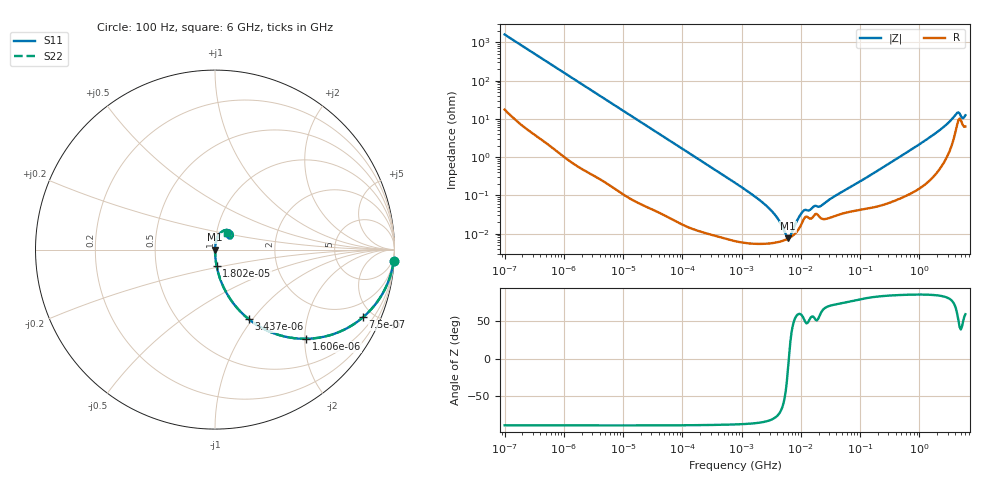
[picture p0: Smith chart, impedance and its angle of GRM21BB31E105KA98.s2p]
!Murata Part Number: GRM21BB31E105KA98
!These Parameters are Measured in Series Mode Connection
!Data Generated on Mar 30, 2021
!  o--ll--o
!Port1  Port2
!  o------o
!Operation Temp=25[degC], DC Bias Voltage=0[V]
!Freq. Start=100[Hz] Stop=6[GHz] 401[Steps]
# Hz S RI R 50
!Freq.(Hz) S11(Real) S11(Imag) S21(Real) S21(Imag) S12(Real) S12(Imag) S22(Real) S22(Imag)
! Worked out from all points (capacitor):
!   401 points, 100 Hz to 6 GHz, reference 50 ohm
!   read as one part in series: C = 982 nF near 109 Hz
!   lowest |Z| = 7.64 mohm at 6.075 MHz (marker M1)
!   series resonance near 6.276 MHz, so ESL is about 660 pH
!   S11 on the Smith chart (normalised r, x): 100 Hz: 1, -32; 750 Hz: 1.03, -4.35; 1.606 kHz: 1.01, -2.04; 3.437 kHz: 1.01, -0.95; 18.02 kHz: 1.00, -0.18; 6 GHz: 1.13, +0.22
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100  0.9955 -0.0614  0.00446 0.0614  0.00446 0.0614  0.9955 -0.0614
350  0.9542 -0.2052  0.0458 0.2052  0.0458 0.2052  0.9542 -0.2052
750  0.824 -0.3775  0.176 0.3775  0.176 0.3775  0.824 -0.3775
1606  0.5093 -0.4969  0.4907 0.4969  0.4907 0.4969  0.5093 -0.4969
2008  0.3998 -0.4868  0.6002 0.4868  0.6002 0.4868  0.3998 -0.4868
3437  0.1871 -0.3868  0.8129 0.3868  0.8129 0.3868  0.1871 -0.3868
6728  0.0578 -0.23  0.9422 0.23  0.9422 0.23  0.0578 -0.23
18016  0.00895 -0.0908  0.9911 0.0908  0.9911 0.0908  0.00895 -0.0908
40335  0.00204 -0.041  0.998 0.041  0.998 0.041  0.00204 -0.041
774597  6.84e-05 -0.00214  0.9999 0.00214  0.9999 0.00214  6.84e-05 -0.00214
2837864  5.54e-05 -0.000476  0.9999 0.000476  0.9999 0.000476  5.54e-05 -0.000476
4060267  6e-05 -0.000245  0.9999 0.000245  0.9999 0.000245  6e-05 -0.000245
5311619  6.78e-05 -9.21e-05  0.9999 9.21e-05  0.9999 9.21e-05  6.78e-05 -9.21e-05
6075234  7.43e-05 -1.79e-05  0.9999 1.79e-05  0.9999 1.79e-05  7.43e-05 -1.79e-05
6948629  8.4e-05 5.73e-05  0.9999 -5.73e-05  0.9999 -5.73e-05  8.4e-05 5.73e-05
1.087309e7  0.000217 0.000319  0.9998 -0.000319  0.9998 -0.000319  0.000217 0.000319
1.555665e7  0.000259 0.000395  0.9997 -0.000395  0.9997 -0.000395  0.000259 0.000395
2.225763e7  0.00025 0.000482  0.9998 -0.000482  0.9998 -0.000482  0.00025 0.000482
3.124326e8  0.000689 0.00687  0.9993 -0.00687  0.9993 -0.00687  0.000689 0.00687
1.873145e9  0.00527 0.0417  0.9947 -0.0417  0.9947 -0.0417  0.00527 0.0417
4.193612e9  0.0651 0.1099  0.9349 -0.1099  0.9349 -0.1099  0.0651 0.1099
6e9  0.069 0.0944  0.931 -0.0944  0.931 -0.0944  0.069 0.0944
